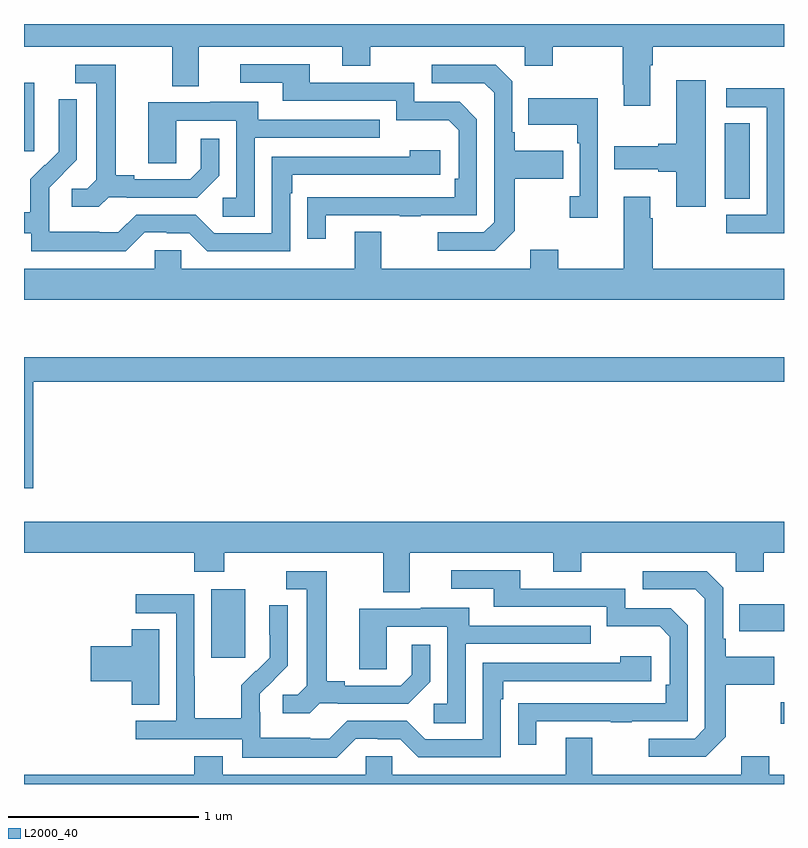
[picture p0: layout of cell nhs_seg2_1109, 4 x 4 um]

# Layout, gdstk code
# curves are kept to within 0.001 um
import gdstk
lib = gdstk.Library(unit=1e-6, precision=1e-09)
def R(c, l, rs):  # rectangles x0, y0, x1, y1
    for r in rs: c.add(gdstk.rectangle(r[:2], r[2:], *l))
def P(c, l, *ps):  # polygons
    for p in ps: c.add(gdstk.Polygon(p, *l))
L2000_40 = (2000, 40)

nhs_seg2_1109 = lib.new_cell('nhs_seg2_1109')
R(nhs_seg2_1109, L2000_40, [(172.983,600.117,173,600.23), (169.985,600.465,170.164,600.826), (172.765,600.605,173,600.745), (172.688,602.881,172.819,603.278), (169,603.129,169.054,603.49)])
P(nhs_seg2_1109, L2000_40, [(172.297,603.584),(172.31,603.584),(172.31,603.68),(173,603.68),(173,603.8),(169,603.8),(169,603.68),(169.781,603.68),(169.781,603.472),(169.921,603.472),(169.921,603.68),(170.675,603.68),(170.675,603.581),(170.823,603.581),(170.823,603.68),(171.636,603.68),(171.636,603.581),(171.783,603.581),(171.783,603.68),(172.15,603.68),(172.15,603.481),(172.157,603.481),(172.157,603.369),(172.297,603.369)],
  [(170.587,602.793),(170.977,602.793),(170.977,602.788),(171.089,602.788),(171.089,602.793),(171.384,602.793),(171.384,603.3),(171.294,603.39),(171.054,603.39),(171.054,603.492),(170.503,603.492),(170.503,603.588),(170.139,603.588),(170.139,603.492),(170.363,603.492),(170.363,603.396),(170.958,603.396),(170.958,603.293),(171.235,603.293),(171.288,603.24),(171.288,602.986),(171.268,602.986),(171.268,602.889),(170.491,602.888),(170.491,602.67),(170.587,602.67)],
  [(171.583,602.713),(171.583,602.986),(171.839,602.986),(171.839,603.133),(171.583,603.133),(171.583,603.229),(171.57,603.229),(171.57,603.498),(171.483,603.585),(171.147,603.585),(171.147,603.489),(171.423,603.489),(171.474,603.438),(171.474,602.757),(171.42,602.703),(171.177,602.703),(171.177,602.607),(171.477,602.607)],
  [(169.446,602.889),(169.54,602.889),(169.54,602.886),(169.912,602.886),(170.028,603.002),(170.028,603.196),(169.931,603.196),(169.931,603.039),(169.874,602.982),(169.579,602.982),(169.579,603.005),(169.483,603.005),(169.483,603.585),(169.269,603.585),(169.269,603.489),(169.379,603.489),(169.379,602.981),(169.332,602.934),(169.251,602.934),(169.251,602.837),(169.394,602.837)],
  [(172.588,603.505),(172.433,603.505),(172.433,603.17),(172.337,603.17),(172.337,603.157),(172.107,603.157),(172.107,603.035),(172.337,603.035),(172.337,603.023),(172.433,603.023),(172.433,602.838),(172.588,602.838)],
  [(173,603.462),(172.695,603.462),(172.695,603.363),(172.908,603.363),(172.908,602.796),(172.695,602.796),(172.695,602.7),(173,602.7)],
  [(172.02,603.409),(171.655,603.409),(171.655,603.269),(171.912,603.269),(171.912,603.173),(171.924,603.173),(171.924,602.894),(171.873,602.894),(171.873,602.781),(172.02,602.781)],
  [(169.635,602.703),(169.751,602.703),(169.751,602.7),(169.869,602.7),(169.965,602.604),(170.4,602.604),(170.4,602.909),(170.413,602.909),(170.413,603.006),(171.19,603.006),(171.19,603.136),(171.029,603.136),(171.029,603.102),(170.304,603.102),(170.304,602.7),(170.001,602.7),(169.905,602.796),(169.59,602.796),(169.497,602.703),(169.397,602.703),(169.397,602.707),(169.134,602.707),(169.134,602.841),(169.132,602.841),(169.132,602.938),(169.278,603.086),(169.278,603.404),(169.182,603.404),(169.182,603.25),(169.184,603.25),(169.184,603.128),(169.113,603.057),(169.11,603.06),(169.033,602.983),(169.033,602.809),(169,602.809),(169,602.7),(169.038,602.7),(169.038,602.603),(169.535,602.603)],
  [(170.214,603.201),(170.873,603.201),(170.873,603.297),(170.233,603.297),(170.233,603.391),(169.979,603.391),(169.979,603.387),(169.655,603.387),(169.655,603.067),(169.8,603.067),(169.8,603.291),(170.118,603.291),(170.118,602.886),(170.046,602.886),(170.046,602.785),(170.214,602.785)],
  [(173,602.512),(172.31,602.512),(172.31,602.777),(172.297,602.777),(172.297,602.89),(172.157,602.89),(172.157,602.512),(171.813,602.512),(171.813,602.611),(171.665,602.611),(171.665,602.512),(170.881,602.512),(170.881,602.707),(170.741,602.707),(170.741,602.512),(169.827,602.512),(169.827,602.61),(169.689,602.61),(169.689,602.512),(169,602.512),(169,602.348),(173,602.348)],
  [(169.049,601.918),(173,601.918),(173,602.047),(169,602.047),(169,601.356),(169.049,601.356)],
  [(171.031,601.016),(171.785,601.016),(171.785,600.917),(171.933,600.917),(171.933,601.016),(172.746,601.016),(172.746,600.917),(172.893,600.917),(172.893,601.016),(173,601.016),(173,601.18),(169,601.18),(169,601.016),(169.895,601.016),(169.895,600.917),(170.055,600.917),(170.055,601.016),(170.891,601.016),(170.891,600.808),(171.031,600.808)],
  [(171.697,600.129),(172.087,600.129),(172.087,600.124),(172.199,600.124),(172.199,600.129),(172.494,600.129),(172.494,600.636),(172.404,600.726),(172.164,600.726),(172.164,600.828),(171.613,600.828),(171.613,600.924),(171.249,600.924),(171.249,600.828),(171.473,600.828),(171.473,600.732),(172.068,600.732),(172.068,600.629),(172.345,600.629),(172.398,600.576),(172.398,600.322),(172.378,600.322),(172.378,600.225),(171.601,600.224),(171.601,600.006),(171.697,600.006)],
  [(170.556,600.225),(170.65,600.225),(170.65,600.222),(171.022,600.222),(171.138,600.338),(171.138,600.532),(171.041,600.532),(171.041,600.375),(170.984,600.318),(170.689,600.318),(170.689,600.341),(170.593,600.341),(170.593,600.921),(170.379,600.921),(170.379,600.825),(170.489,600.825),(170.489,600.317),(170.442,600.27),(170.361,600.27),(170.361,600.173),(170.504,600.173)],
  [(172.693,600.049),(172.693,600.322),(172.949,600.322),(172.949,600.469),(172.693,600.469),(172.693,600.565),(172.68,600.565),(172.68,600.834),(172.593,600.921),(172.257,600.921),(172.257,600.825),(172.533,600.825),(172.584,600.774),(172.584,600.093),(172.53,600.039),(172.287,600.039),(172.287,599.943),(172.587,599.943)],
  [(170.745,600.039),(170.861,600.039),(170.861,600.036),(170.979,600.036),(171.075,599.94),(171.51,599.94),(171.51,600.245),(171.523,600.245),(171.523,600.342),(172.3,600.342),(172.3,600.472),(172.139,600.472),(172.139,600.438),(171.414,600.438),(171.414,600.036),(171.111,600.036),(171.015,600.132),(170.7,600.132),(170.607,600.039),(170.507,600.039),(170.507,600.043),(170.244,600.043),(170.244,600.177),(170.242,600.177),(170.242,600.274),(170.388,600.422),(170.388,600.74),(170.292,600.74),(170.292,600.586),(170.294,600.586),(170.294,600.464),(170.223,600.393),(170.22,600.396),(170.143,600.319),(170.143,600.145),(169.899,600.145),(169.899,600.368),(169.896,600.368),(169.896,600.798),(169.587,600.798),(169.587,600.699),(169.8,600.699),(169.8,600.132),(169.587,600.132),(169.587,600.036),(170.148,600.036),(170.148,599.939),(170.645,599.939)],
  [(171.324,600.537),(171.983,600.537),(171.983,600.633),(171.343,600.633),(171.343,600.727),(171.089,600.727),(171.089,600.723),(170.765,600.723),(170.765,600.403),(170.91,600.403),(170.91,600.627),(171.228,600.627),(171.228,600.222),(171.156,600.222),(171.156,600.121),(171.324,600.121)],
  [(169.711,600.614),(169.568,600.614),(169.568,600.524),(169.35,600.524),(169.35,600.341),(169.568,600.341),(169.568,600.217),(169.711,600.217)],
  [(173,599.848),(172.923,599.848),(172.923,599.947),(172.775,599.947),(172.775,599.848),(171.991,599.848),(171.991,600.043),(171.851,600.043),(171.851,599.848),(170.937,599.848),(170.937,599.946),(170.799,599.946),(170.799,599.848),(170.047,599.848),(170.047,599.947),(169.895,599.947),(169.895,599.848),(169,599.848),(169,599.8),(173,599.8)])

lib.write_gds('nhs_seg2_1109.gds')
